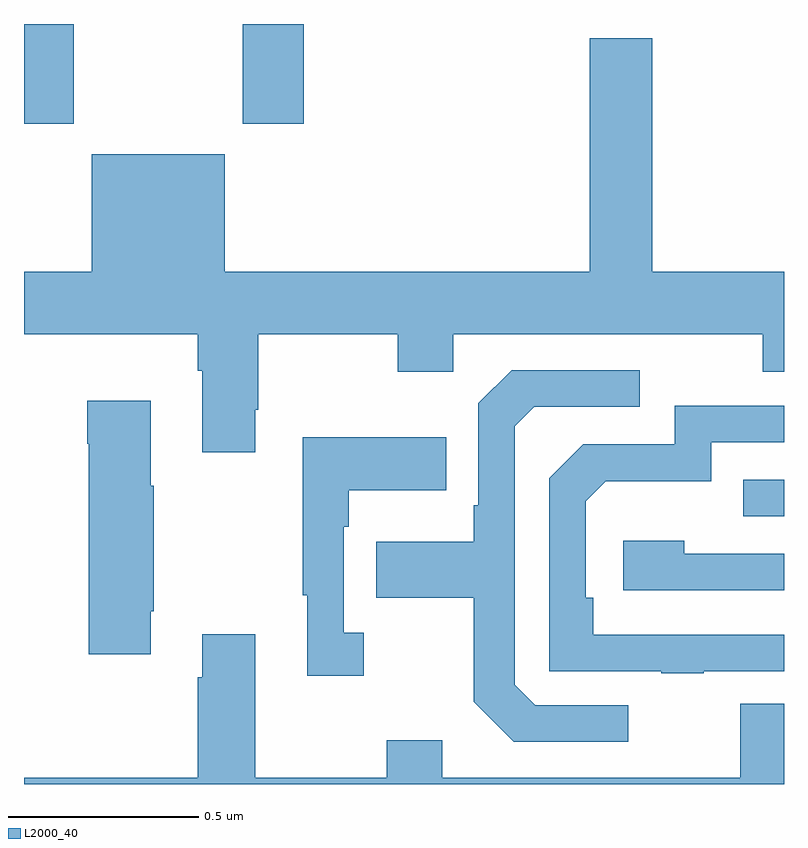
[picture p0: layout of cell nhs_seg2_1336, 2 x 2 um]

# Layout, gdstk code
import gdstk
lib = gdstk.Library(unit=1e-6, precision=1e-09)
def R(c, l, rs):  # rectangles x0, y0, x1, y1
    for r in rs: c.add(gdstk.rectangle(r[:2], r[2:], *l))
def P(c, l, *ps):  # polygons
    for p in ps: c.add(gdstk.Polygon(p, *l))
L2000_40 = (2000, 40)

nhs_seg2_1336 = lib.new_cell('nhs_seg2_1336')
R(nhs_seg2_1336, L2000_40, [(128.893,632.505,129,632.601), (127,633.537,127.131,633.8), (127.576,633.537,127.736,633.8)])
P(nhs_seg2_1336, L2000_40, [(127.609,632.785),(127.617,632.785),(127.617,632.984),(127.984,632.984),(127.984,632.885),(128.13,632.885),(128.13,632.984),(128.944,632.984),(128.944,632.885),(129,632.885),(129,633.148),(128.653,633.148),(128.653,633.763),(128.489,633.763),(128.489,633.148),(127.528,633.148),(127.528,633.457),(127.178,633.457),(127.178,633.148),(127,633.148),(127,632.984),(127.457,632.984),(127.457,632.888),(127.469,632.888),(127.469,632.673),(127.609,632.673)],
  [(128.59,632.007),(128.346,632.007),(128.292,632.061),(128.292,632.742),(128.343,632.793),(128.62,632.793),(128.62,632.889),(128.283,632.889),(128.196,632.802),(128.196,632.533),(128.184,632.533),(128.184,632.437),(127.927,632.437),(127.927,632.29),(128.184,632.29),(128.184,632.017),(128.289,631.911),(128.59,631.911)],
  [(127.333,632.254),(127.341,632.254),(127.341,632.585),(127.333,632.585),(127.333,632.809),(127.166,632.809),(127.166,632.696),(127.171,632.696),(127.171,632.142),(127.333,632.142)],
  [(128.789,632.097),(129,632.097),(129,632.193),(128.498,632.193),(128.498,632.29),(128.478,632.29),(128.478,632.544),(128.531,632.597),(128.808,632.597),(128.808,632.7),(129,632.7),(129,632.796),(128.712,632.796),(128.712,632.694),(128.472,632.694),(128.382,632.604),(128.382,632.097),(128.677,632.097),(128.677,632.092),(128.789,632.092)],
  [(127.894,632.198),(127.842,632.198),(127.842,632.477),(127.855,632.477),(127.855,632.573),(128.111,632.573),(128.111,632.713),(127.734,632.713),(127.734,632.297),(127.745,632.297),(127.745,632.085),(127.894,632.085)],
  [(129,632.406),(128.738,632.406),(128.738,632.44),(128.577,632.44),(128.577,632.31),(129,632.31)],
  [(129,632.011),(128.885,632.011),(128.885,631.816),(128.101,631.816),(128.101,631.915),(127.954,631.915),(127.954,631.816),(127.609,631.816),(127.609,632.194),(127.469,632.194),(127.469,632.081),(127.457,632.081),(127.457,631.816),(127,631.816),(127,631.8),(129,631.8)])

lib.write_gds('nhs_seg2_1336.gds')
